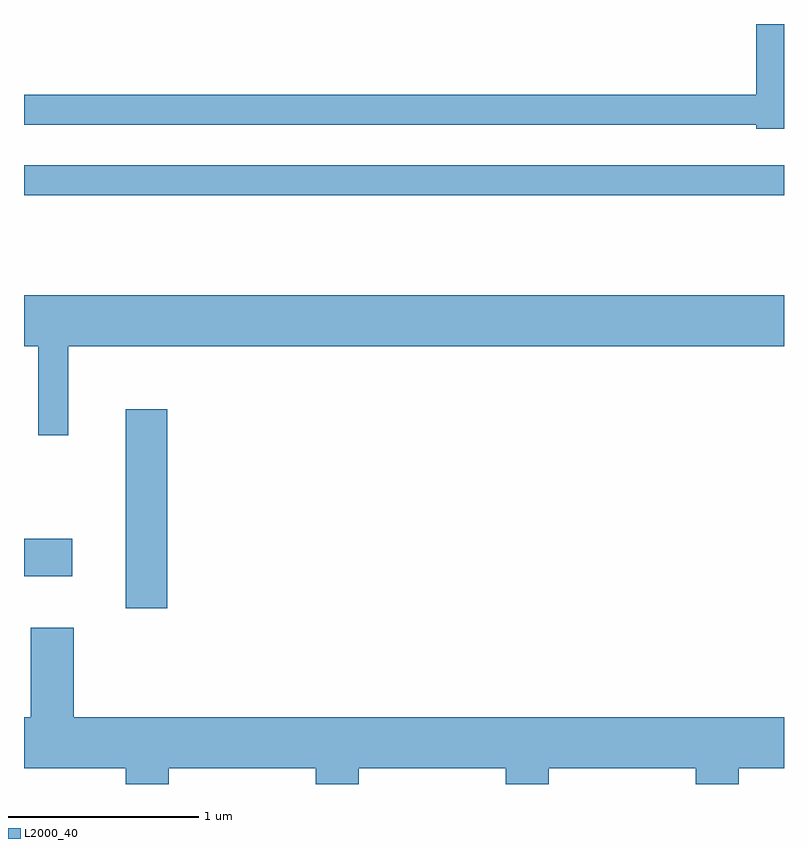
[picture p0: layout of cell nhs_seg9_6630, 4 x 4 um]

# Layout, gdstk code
import gdstk
lib = gdstk.Library(unit=1e-6, precision=1e-09)
def R(c, l, rs):  # rectangles x0, y0, x1, y1
    for r in rs: c.add(gdstk.rectangle(r[:2], r[2:], *l))
def P(c, l, *ps):  # polygons
    for p in ps: c.add(gdstk.Polygon(p, *l))
L2000_40 = (2000, 40)

nhs_seg9_6630 = lib.new_cell('nhs_seg9_6630')
R(nhs_seg9_6630, L2000_40, [(382.146,1959.356,382.364,1960.404), (381.611,1959.526,381.864,1959.724), (381.611,1961.531,385.611,1961.689)])
P(nhs_seg9_6630, L2000_40, [(385.611,1962.432),(385.466,1962.432),(385.466,1962.059),(381.611,1962.059),(381.611,1961.901),(385.466,1961.901),(385.466,1961.881),(385.611,1961.881)],
  [(381.844,1960.736),(385.611,1960.736),(385.611,1961.004),(381.611,1961.004),(381.611,1960.736),(381.686,1960.736),(381.686,1960.268),(381.844,1960.268)],
  [(382.374,1958.516),(383.146,1958.516),(383.146,1958.432),(383.374,1958.432),(383.374,1958.516),(384.146,1958.516),(384.146,1958.432),(384.374,1958.432),(384.374,1958.516),(385.146,1958.516),(385.146,1958.432),(385.374,1958.432),(385.374,1958.516),(385.611,1958.516),(385.611,1958.784),(381.874,1958.784),(381.874,1959.254),(381.646,1959.254),(381.646,1958.784),(381.611,1958.784),(381.611,1958.516),(382.146,1958.516),(382.146,1958.432),(382.374,1958.432)])

lib.write_gds('nhs_seg9_6630.gds')
